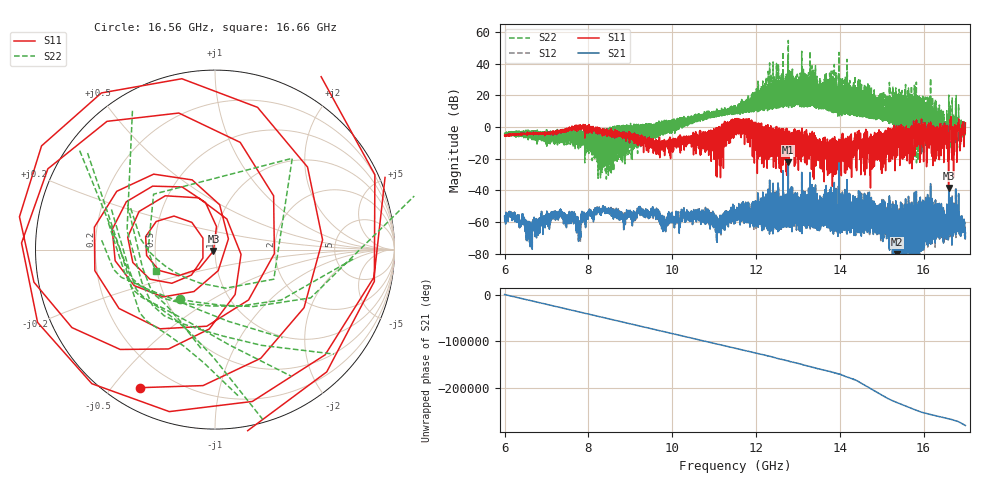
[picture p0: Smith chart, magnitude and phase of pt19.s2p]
#  HZ  S  RI  R  50.00
! Rohde & Schwarz Vector Network Analyzer
! Rohde-Schwarz,ZNA67-2Port,1332450062101215,3.01
! Created: UTC 10/15/2026, 2:34:41 PM
! freq[Hz]  re:S11  im:S11  re:S21  im:S21  re:S12  im:S12  re:S22  im:S22
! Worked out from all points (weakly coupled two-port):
!   11001 points, 6 GHz to 17 GHz, reference 50 ohm
!   highest |S21| = -22.31 dB at 12.77 GHz (marker M1); lowest = -87.5 dB at 15.37 GHz (marker M2)
!   lowest |S11| = -38.6 dB at 16.6 GHz (marker M3), VSWR 1.02, Z = 49.1 - j0.782 ohm
!   |S11| at or under -10 dB: 13.65209 GHz to 13.70157 GHz (49.48 MHz wide, 0.362 % of centre); 13.72002 GHz to 13.76948 GHz (49.45 MHz wide, 0.36 % of centre); 14.08085 GHz to 14.12741 GHz (46.56 MHz wide, 0.33 % of centre) (the widest 3 of 480)
!   |S22| runs from -32.9 to 54.7 dB; largest |S21 - S12| = 0.0047
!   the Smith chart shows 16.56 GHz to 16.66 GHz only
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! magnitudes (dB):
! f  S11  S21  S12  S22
! 6 GHz  -5.3  -56.4  -56.3  -3.7
! 6.455 GHz  -4.5  -59.7  -59.5  -4.7
! 6.594 GHz  -4.1  -72.9  -71.8  -4.1
! 7.333 GHz  -3.5  -53.0  -52.9  -9.2
! 7.834 GHz  -0.4  -59.9  -60.7  -11.8
! 8.211 GHz  -2.0  -50.8  -50.5  -3.8
! 9.667 GHz  -10.5  -54.9  -55.1  -5.0
! 9.837 GHz  -11.5  -62.1  -62.9  3.0
! 10.81 GHz  -7.8  -55.8  -55.3  5.7
! 11.07 GHz  -1.7  -57.2  -57.5  10.9
! 11.5 GHz  4.8  -59.5  -59.7  9.0
! 12.77 GHz  -7.1  -22.3  -22.3  54.7
! 13.33 GHz  -6.4  -57.5  -57.7  16.5
! 13.89 GHz  -8.2  -61.6  -61.6  11.1
! 14.45 GHz  -6.4  -65.3  -65.4  7.6
! 14.76 GHz  -7.9  -63.1  -63.6  5.7
! 15.17 GHz  -9.4  -65.3  -65.4  7.0
! 15.37 GHz  -9.9  -87.5  -86.2  -0.3
! 15.69 GHz  -2.5  -73.8  -75.0  -2.4
! 15.8 GHz  -1.9  -54.4  -54.5  15.3
! 16.6 GHz  -38.6  -64.5  -64.6  -5.0
! 17 GHz  2.6  -66.8  -66.8  -2.2
